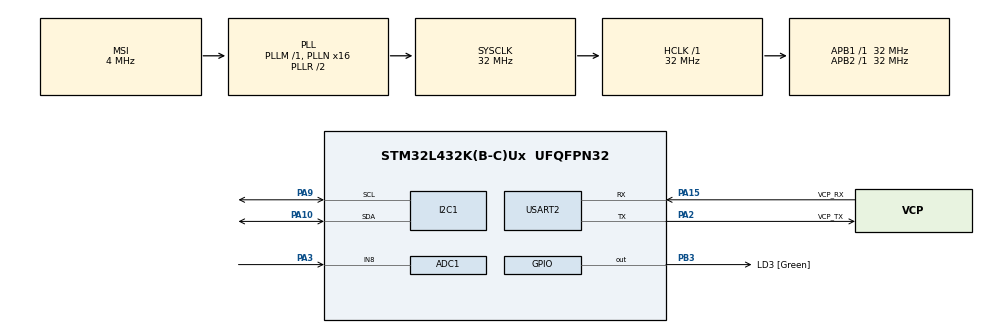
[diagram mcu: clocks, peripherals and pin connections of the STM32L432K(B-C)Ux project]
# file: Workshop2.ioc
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ADC1.Channel-0\#ChannelRegularConversion=ADC_CHANNEL_8
ADC1.NbrOfConversionFlag=1
ADC1.OffsetNumber-0\#ChannelRegularConversion=ADC_OFFSET_NONE
ADC1.Rank-0\#ChannelRegularConversion=1
ADC1.SamplingTime-0\#ChannelRegularConversion=ADC_SAMPLETIME_2CYCLES_5
ADC1.master=1
I2C1.Timing=0x00707CBB
Mcu.Family=STM32L4
Mcu.Name=STM32L432K(B-C)Ux
Mcu.Package=UFQFPN32
NVIC.PriorityGroup=NVIC_PRIORITYGROUP_4
PA0.GPIO_Label=MCO [High speed clock in]
PA0.Mode=HSE-External-Clock-Source-for-LittleOrca
PA0.Signal=RCC_CK_IN
PA10.Mode=I2C
PA10.Signal=I2C1_SDA
PA13\ (JTMS-SWDIO).GPIO_Label=SWDIO
PA13\ (JTMS-SWDIO).Mode=Serial_Wire
PA13\ (JTMS-SWDIO).Signal=SYS_JTMS-SWDIO
PA14\ (JTCK-SWCLK).GPIO_Label=SWCLK
PA14\ (JTCK-SWCLK).Mode=Serial_Wire
PA14\ (JTCK-SWCLK).Signal=SYS_JTCK-SWCLK
PA15\ (JTDI).GPIO_Label=VCP_RX
PA15\ (JTDI).Mode=Asynchronous
PA15\ (JTDI).Signal=USART2_RX
PA2.GPIO_Label=VCP_TX
PA2.Mode=Asynchronous
PA2.Signal=USART2_TX
PA3.Signal=ADCx_IN8
PA9.Mode=I2C
PA9.Signal=I2C1_SCL
PB3\ (JTDO-TRACESWO).GPIO_Label=LD3 [Green]
PB3\ (JTDO-TRACESWO).Signal=GPIO_Output
PC14-OSC32_IN\ (PC14).Mode=LSE-External-Oscillator
PC14-OSC32_IN\ (PC14).Signal=RCC_OSC32_IN
PC15-OSC32_OUT\ (PC15).Mode=LSE-External-Oscillator
PC15-OSC32_OUT\ (PC15).Signal=RCC_OSC32_OUT
ProjectManager.HeapSize=0x200
ProjectManager.StackSize=0x400
ProjectManager.TargetToolchain=STM32CubeIDE
RCC.ADCFreq_Value=32000000
RCC.AHBFreq_Value=32000000
RCC.APB1Freq_Value=32000000
RCC.APB1TimFreq_Value=32000000
RCC.APB2Freq_Value=32000000
RCC.APB2TimFreq_Value=32000000
RCC.CortexFreq_Value=32000000
RCC.HCLKFreq_Value=32000000
RCC.HSE_VALUE=8000000
RCC.HSI16_VALUE=16000000
RCC.HSI48_VALUE=48000000
RCC.HSI_VALUE=16000000
RCC.MSI_VALUE=4000000
RCC.PLLMUL=RCC_PLLMUL_4
RCC.PLLN=16
RCC.PLLSAI1N=16
RCC.SYSCLKFreq_VALUE=32000000
RCC.SYSCLKSource=RCC_SYSCLKSOURCE_PLLCLK
RCC.USBFreq_Value=32000000
RCC.VCOOutputFreq_Value=64000000
SH.ADCx_IN8.0=ADC1_IN8,IN8-Single-Ended
USART2.VirtualMode-Asynchronous=VM_ASYNC
board=NUCLEO-L432KC

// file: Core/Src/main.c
/* USER CODE BEGIN Header */
/**
  ******************************************************************************
  * @file           : main.c
  * @brief          : Main program body
  ******************************************************************************
  * @attention
  *
  * Copyright (c) 2022 STMicroelectronics.
  * All rights reserved.
  *
  * This software is licensed under terms that can be found in the LICENSE file
  * in the root directory of this software component.
  * If no LICENSE file comes with this software, it is provided AS-IS.
  *
  ******************************************************************************
  */
/* USER CODE END Header */
#include "main.h"

/* USER CODE BEGIN Includes */
#include <stdint.h>
#include "SerialDebugDriver.h"
/* USER CODE END Includes */

ADC_HandleTypeDef hadc1;

I2C_HandleTypeDef hi2c1;

UART_HandleTypeDef huart2;

void SystemClock_Config(void);
static void MX_GPIO_Init(void);
static void MX_USART2_UART_Init(void);
static void MX_ADC1_Init(void);
static void MX_I2C1_Init(void);

int main(void)
{

  /* MCU Configuration--------------------------------------------------------*/

  /* Reset of all peripherals, Initializes the Flash interface and the Systick. */
  HAL_Init();

  /* Configure the system clock */
  SystemClock_Config();

  /* Initialize all configured peripherals */
  MX_GPIO_Init();
  MX_USART2_UART_Init();
  MX_ADC1_Init();
  MX_I2C1_Init();

  /* Infinite loop */
  /* USER CODE BEGIN WHILE */
  uint8_t message[10] = "Hello";
  uint16_t rawADCvalue;
  uint8_t i2cdata[5];
  HAL_StatusTypeDef returnstatus;
  while (1)
  {

	  HAL_GPIO_WritePin(GPIOB, GPIO_PIN_3, GPIO_PIN_SET);
	  HAL_Delay(1000);
	  HAL_GPIO_WritePin(GPIOB, GPIO_PIN_3, GPIO_PIN_RESET);
	  HAL_Delay(1000);

	  HAL_UART_Transmit(&huart2, message, 10, HAL_MAX_DELAY);

	  HAL_ADC_Start(&hadc1);
	  HAL_ADC_PollForConversion(&hadc1, HAL_MAX_DELAY);
	  rawADCvalue = HAL_ADC_GetValue(&hadc1);

	  SerialPrintln("Temperature data: %d", rawADCvalue);

	  i2cdata[0] = 0x0f;
	  returnstatus = HAL_I2C_Master_Transmit(&hi2c1, 0x18<<1, i2cdata, 1, HAL_MAX_DELAY);
	  if (returnstatus == HAL_OK){
		  SerialPrintln("No errors");
	  }
	  else
	  {
		  SerialPrintln("Error");
	  }
	  returnstatus = HAL_I2C_Master_Receive(&hi2c1, 0x18<<1, i2cdata, 1, HAL_MAX_DELAY);
	  if (returnstatus == HAL_OK){
	  		  SerialPrintln("No errors");
	  		  SerialPrintln("Who am I data: %d", i2cdata[0]);
	  }
	  else
	  {
		  SerialPrintln("Error");
	  }

	  i2cdata[0]=0x20;

	  i2cdata[1]= 0b00010000;

	  returnstatus = HAL_I2C_Master_Transmit(&hi2c1, 0x18<<1, i2cdata, 2, HAL_MAX_DELAY);

	  if(returnstatus != HAL_OK) SerialPrintln("ERROR 3");

	  i2cdata[0]= 0x2c;
	  returnstatus = HAL_I2C_Master_Transmit(&hi2c1, 0x18<<1, i2cdata, 1, HAL_MAX_DELAY);

	  if(returnstatus != HAL_OK) SerialPrintln("ERROR 1");

	  returnstatus = HAL_I2C_Master_Receive(&hi2c1, 0x18<<1, i2cdata, 2, HAL_MAX_DELAY);
	  if(returnstatus != HAL_OK) SerialPrintln("ERROR 2");

	  SerialPrintln("Z axis: %d %d", i2cdata[0], i2cdata[1]);

    /* USER CODE END WHILE */

  }
}

void SystemClock_Config(void)
{
  RCC_OscInitTypeDef RCC_OscInitStruct = {0};
  RCC_ClkInitTypeDef RCC_ClkInitStruct = {0};

  /** Configure the main internal regulator output voltage
  */
  if (HAL_PWREx_ControlVoltageScaling(PWR_REGULATOR_VOLTAGE_SCALE1) != HAL_OK)
  {
    Error_Handler();
  }

  /** Configure LSE Drive Capability
  */
  HAL_PWR_EnableBkUpAccess();
  __HAL_RCC_LSEDRIVE_CONFIG(RCC_LSEDRIVE_LOW);

  /** Initializes the RCC Oscillators according to the specified parameters
  * in the RCC_OscInitTypeDef structure.
  */
  RCC_OscInitStruct.OscillatorType = RCC_OSCILLATORTYPE_LSE|RCC_OSCILLATORTYPE_MSI;
  RCC_OscInitStruct.LSEState = RCC_LSE_ON;
  RCC_OscInitStruct.MSIState = RCC_MSI_ON;
  RCC_OscInitStruct.MSICalibrationValue = 0;
  RCC_OscInitStruct.MSIClockRange = RCC_MSIRANGE_6;
  RCC_OscInitStruct.PLL.PLLState = RCC_PLL_ON;
  RCC_OscInitStruct.PLL.PLLSource = RCC_PLLSOURCE_MSI;
  RCC_OscInitStruct.PLL.PLLM = 1;
  RCC_OscInitStruct.PLL.PLLN = 16;
  RCC_OscInitStruct.PLL.PLLP = RCC_PLLP_DIV7;
  RCC_OscInitStruct.PLL.PLLQ = RCC_PLLQ_DIV2;
  RCC_OscInitStruct.PLL.PLLR = RCC_PLLR_DIV2;
  if (HAL_RCC_OscConfig(&RCC_OscInitStruct) != HAL_OK)
  {
    Error_Handler();
  }

  /** Initializes the CPU, AHB and APB buses clocks
  */
  RCC_ClkInitStruct.ClockType = RCC_CLOCKTYPE_HCLK|RCC_CLOCKTYPE_SYSCLK
                              |RCC_CLOCKTYPE_PCLK1|RCC_CLOCKTYPE_PCLK2;
  RCC_ClkInitStruct.SYSCLKSource = RCC_SYSCLKSOURCE_PLLCLK;
  RCC_ClkInitStruct.AHBCLKDivider = RCC_SYSCLK_DIV1;
  RCC_ClkInitStruct.APB1CLKDivider = RCC_HCLK_DIV1;
  RCC_ClkInitStruct.APB2CLKDivider = RCC_HCLK_DIV1;

  if (HAL_RCC_ClockConfig(&RCC_ClkInitStruct, FLASH_LATENCY_1) != HAL_OK)
  {
    Error_Handler();
  }

  /** Enable MSI Auto calibration
  */
  HAL_RCCEx_EnableMSIPLLMode();
}

static void MX_ADC1_Init(void)
{

  ADC_ChannelConfTypeDef sConfig = {0};

  /** Common config
  */
  hadc1.Instance = ADC1;
  hadc1.Init.ClockPrescaler = ADC_CLOCK_ASYNC_DIV1;
  hadc1.Init.Resolution = ADC_RESOLUTION_12B;
  hadc1.Init.DataAlign = ADC_DATAALIGN_RIGHT;
  hadc1.Init.ScanConvMode = ADC_SCAN_DISABLE;
  hadc1.Init.EOCSelection = ADC_EOC_SINGLE_CONV;
  hadc1.Init.LowPowerAutoWait = DISABLE;
  hadc1.Init.ContinuousConvMode = DISABLE;
  hadc1.Init.NbrOfConversion = 1;
  hadc1.Init.DiscontinuousConvMode = DISABLE;
  hadc1.Init.ExternalTrigConv = ADC_SOFTWARE_START;
  hadc1.Init.ExternalTrigConvEdge = ADC_EXTERNALTRIGCONVEDGE_NONE;
  hadc1.Init.DMAContinuousRequests = DISABLE;
  hadc1.Init.Overrun = ADC_OVR_DATA_PRESERVED;
  hadc1.Init.OversamplingMode = DISABLE;
  if (HAL_ADC_Init(&hadc1) != HAL_OK)
  {
    Error_Handler();
  }

  /** Configure Regular Channel
  */
  sConfig.Channel = ADC_CHANNEL_8;
  sConfig.Rank = ADC_REGULAR_RANK_1;
  sConfig.SamplingTime = ADC_SAMPLETIME_2CYCLES_5;
  sConfig.SingleDiff = ADC_SINGLE_ENDED;
  sConfig.OffsetNumber = ADC_OFFSET_NONE;
  sConfig.Offset = 0;
  if (HAL_ADC_ConfigChannel(&hadc1, &sConfig) != HAL_OK)
  {
    Error_Handler();
  }

}

static void MX_I2C1_Init(void)
{

  hi2c1.Instance = I2C1;
  hi2c1.Init.Timing = 0x00707CBB;
  hi2c1.Init.OwnAddress1 = 0;
  hi2c1.Init.AddressingMode = I2C_ADDRESSINGMODE_7BIT;
  hi2c1.Init.DualAddressMode = I2C_DUALADDRESS_DISABLE;
  hi2c1.Init.OwnAddress2 = 0;
  hi2c1.Init.OwnAddress2Masks = I2C_OA2_NOMASK;
  hi2c1.Init.GeneralCallMode = I2C_GENERALCALL_DISABLE;
  hi2c1.Init.NoStretchMode = I2C_NOSTRETCH_DISABLE;
  if (HAL_I2C_Init(&hi2c1) != HAL_OK)
  {
    Error_Handler();
  }

  /** Configure Analogue filter
  */
  if (HAL_I2CEx_ConfigAnalogFilter(&hi2c1, I2C_ANALOGFILTER_ENABLE) != HAL_OK)
  {
    Error_Handler();
  }

  /** Configure Digital filter
  */
  if (HAL_I2CEx_ConfigDigitalFilter(&hi2c1, 0) != HAL_OK)
  {
    Error_Handler();
  }

}

static void MX_USART2_UART_Init(void)
{

  huart2.Instance = USART2;
  huart2.Init.BaudRate = 115200;
  huart2.Init.WordLength = UART_WORDLENGTH_8B;
  huart2.Init.StopBits = UART_STOPBITS_1;
  huart2.Init.Parity = UART_PARITY_NONE;
  huart2.Init.Mode = UART_MODE_TX_RX;
  huart2.Init.HwFlowCtl = UART_HWCONTROL_NONE;
  huart2.Init.OverSampling = UART_OVERSAMPLING_16;
  huart2.Init.OneBitSampling = UART_ONE_BIT_SAMPLE_DISABLE;
  huart2.AdvancedInit.AdvFeatureInit = UART_ADVFEATURE_NO_INIT;
  if (HAL_UART_Init(&huart2) != HAL_OK)
  {
    Error_Handler();
  }

}

static void MX_GPIO_Init(void)
{
  GPIO_InitTypeDef GPIO_InitStruct = {0};

  /* GPIO Ports Clock Enable */
  __HAL_RCC_GPIOC_CLK_ENABLE();
  __HAL_RCC_GPIOA_CLK_ENABLE();
  __HAL_RCC_GPIOB_CLK_ENABLE();

  /*Configure GPIO pin Output Level */
  HAL_GPIO_WritePin(LD3_GPIO_Port, LD3_Pin, GPIO_PIN_RESET);

  /*Configure GPIO pin : LD3_Pin */
  GPIO_InitStruct.Pin = LD3_Pin;
  GPIO_InitStruct.Mode = GPIO_MODE_OUTPUT_PP;
  GPIO_InitStruct.Pull = GPIO_NOPULL;
  GPIO_InitStruct.Speed = GPIO_SPEED_FREQ_LOW;
  HAL_GPIO_Init(LD3_GPIO_Port, &GPIO_InitStruct);

}

void Error_Handler(void)
{
  __disable_irq();
  while (1)
  {
  }
}
